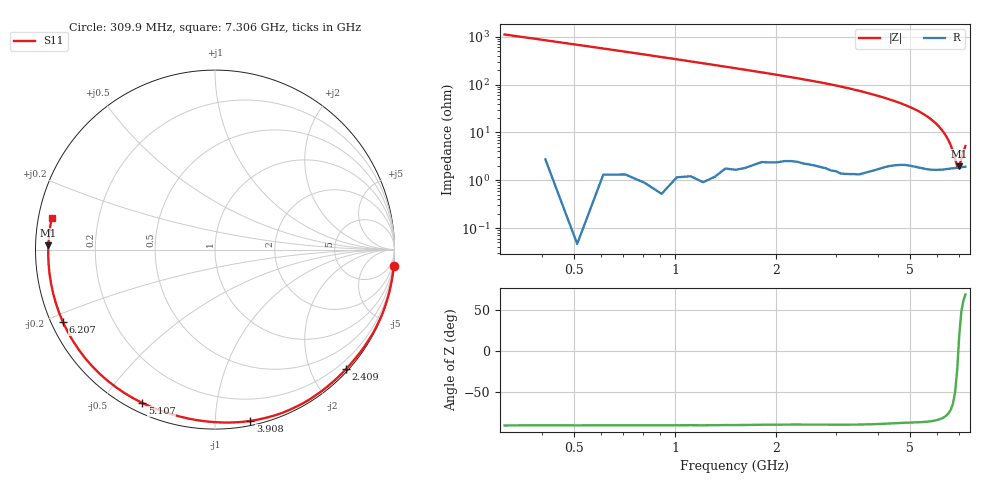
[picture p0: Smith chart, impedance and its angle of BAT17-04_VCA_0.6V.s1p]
! Infineon Technologies  Discrete & RF Semiconductors
! BAT17-04
! VCA = 0.6 V
! One-Port S-Parameters
# Hz  S  MA  R  50
!f  S11
!Hz  Mag  Ang
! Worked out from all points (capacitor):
!   71 points, 309.9 MHz to 7.306 GHz, reference 50 ohm
!   read as one part to ground: C = 457 fF near 309.9 MHz
!   lowest |Z| = 1.96 ohm at 7.006 GHz (marker M1)
!   series resonance near 6.961 GHz, so ESL is about 1.1 nH
!   S11 on the Smith chart (normalised r, x): 309.9 MHz: -0, -22; 2.409 GHz: 0.04, -2.57; 3.908 GHz: 0.03, -1.23; 5.107 GHz: 0.04, -0.63; 6.207 GHz: 0.03, -0.23; 7.306 GHz: 0.04, +0.10
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3.0985e8  1 -5.1
8.096e8  0.9995 -13.4
1.2094e9  0.9989 -20.3
1.6092e9  0.996 -27.4
2.10895e9  0.9901 -36.6
2.4088e9  0.9883 -42.5
2.70865e9  0.9873 -48.5
3.0085e9  0.9869 -55.1
3.30835e9  0.9856 -62.4
3.50825e9  0.9838 -67.5
3.8081e9  0.9772 -75.6
3.90805e9  0.9746 -78.4
4.10795e9  0.9684 -84.1
4.30785e9  0.9615 -90.0
4.50775e9  0.9555 -96.1
4.70765e9  0.9503 -102.3
4.90755e9  0.9471 -108.7
5.10745e9  0.9457 -115.3
5.30735e9  0.945 -122.2
5.6072e9  0.9443 -132.9
5.90705e9  0.942 -143.7
6.10695e9  0.9396 -150.9
6.2069e9  0.9386 -154.4
6.30685e9  0.9371 -158.0
6.50675e9  0.9343 -164.9
6.70665e9  0.9317 -171.7
7.0065e9  0.9287 178.5
7.30635e9  0.9267 169.0
